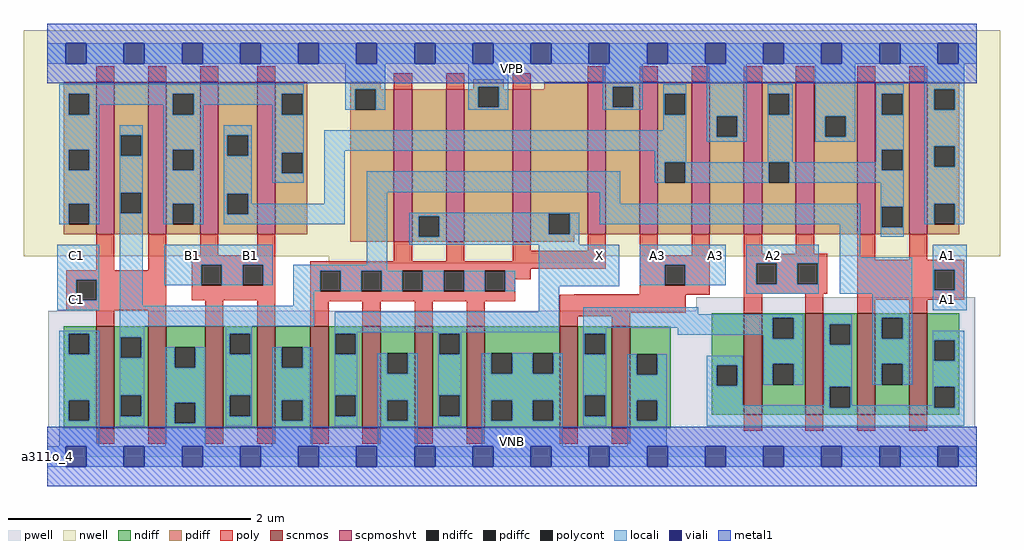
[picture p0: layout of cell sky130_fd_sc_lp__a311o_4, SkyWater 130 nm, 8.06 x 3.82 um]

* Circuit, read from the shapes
.subckt sky130_fd_sc_lp__a311o_4 A1 A2 A3 B1 C1 VGND VNB VPB VPWR X
XM1 n1 C1 VGND VNB sky130_fd_pr__nfet_01v8 w=0.84 l=0.15 m=2
XM2 n1 B1 VGND VNB sky130_fd_pr__nfet_01v8 w=0.84 l=0.15 m=2
XM3 X n1 VGND VNB sky130_fd_pr__nfet_01v8 w=0.84 l=0.15 m=4
XM4 n2 A3 VGND VNB sky130_fd_pr__nfet_01v8 w=0.84 l=0.15 m=2
XM5 n2 A2 n3 VNB sky130_fd_pr__nfet_01v8 w=0.84 l=0.15 m=2
XM6 n1 A1 n3 VNB sky130_fd_pr__nfet_01v8 w=0.84 l=0.15 m=2
XM7 n1 C1 n4 VPB sky130_fd_pr__pfet_01v8_hvt w=1.26 l=0.15 m=2
XM8 n5 B1 n4 VPB sky130_fd_pr__pfet_01v8_hvt w=1.26 l=0.15 m=2
XM9 X n1 VPWR VPB sky130_fd_pr__pfet_01v8_hvt w=1.26 l=0.15 m=4
XM10 n5 A3 VPWR VPB sky130_fd_pr__pfet_01v8_hvt w=1.26 l=0.15 m=2
XM11 n5 A2 VPWR VPB sky130_fd_pr__pfet_01v8_hvt w=1.26 l=0.15 m=2
XM12 n5 A1 VPWR VPB sky130_fd_pr__pfet_01v8_hvt w=1.26 l=0.15 m=2
.ends

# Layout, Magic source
magic
tech sky130A
magscale 1 2
<< nwell >>
rect -38 331 1574 704
rect 465 319 907 331
<< pwell >>
rect 1072 241 1533 263
rect 2 49 1533 241
rect 0 0 1536 49
<< scnmos >>
rect 81 47 111 215
rect 167 47 197 215
rect 261 47 291 215
rect 347 47 377 215
rect 435 47 465 215
rect 521 47 551 215
rect 607 47 637 215
rect 693 47 723 215
rect 847 47 877 215
rect 933 47 963 215
rect 1151 69 1181 237
rect 1252 69 1282 237
rect 1338 69 1368 237
rect 1424 69 1454 237
<< scpmoshvt >>
rect 81 367 111 619
rect 167 367 197 619
rect 253 367 283 619
rect 347 367 377 619
rect 573 355 603 607
rect 659 355 689 607
rect 769 355 799 607
rect 893 367 923 619
rect 979 367 1009 619
rect 1065 367 1095 619
rect 1151 367 1181 619
rect 1237 367 1267 619
rect 1338 367 1368 619
rect 1424 367 1454 619
<< ndiff >>
rect 28 203 81 215
rect 28 169 36 203
rect 70 169 81 203
rect 28 93 81 169
rect 28 59 36 93
rect 70 59 81 93
rect 28 47 81 59
rect 111 197 167 215
rect 111 163 122 197
rect 156 163 167 197
rect 111 101 167 163
rect 111 67 122 101
rect 156 67 167 101
rect 111 47 167 67
rect 197 181 261 215
rect 197 147 211 181
rect 245 147 261 181
rect 197 89 261 147
rect 197 55 211 89
rect 245 55 261 89
rect 197 47 261 55
rect 291 203 347 215
rect 291 169 302 203
rect 336 169 347 203
rect 291 101 347 169
rect 291 67 302 101
rect 336 67 347 101
rect 291 47 347 67
rect 377 181 435 215
rect 377 147 388 181
rect 422 147 435 181
rect 377 93 435 147
rect 377 59 388 93
rect 422 59 435 93
rect 377 47 435 59
rect 465 203 521 215
rect 465 169 476 203
rect 510 169 521 203
rect 465 101 521 169
rect 465 67 476 101
rect 510 67 521 101
rect 465 47 521 67
rect 551 171 607 215
rect 551 137 562 171
rect 596 137 607 171
rect 551 93 607 137
rect 551 59 562 93
rect 596 59 607 93
rect 551 47 607 59
rect 637 203 693 215
rect 637 169 648 203
rect 682 169 693 203
rect 637 101 693 169
rect 637 67 648 101
rect 682 67 693 101
rect 637 47 693 67
rect 723 171 847 215
rect 723 137 734 171
rect 768 137 802 171
rect 836 137 847 171
rect 723 93 847 137
rect 723 59 734 93
rect 768 59 802 93
rect 836 59 847 93
rect 723 47 847 59
rect 877 203 933 215
rect 877 169 888 203
rect 922 169 933 203
rect 877 101 933 169
rect 877 67 888 101
rect 922 67 933 101
rect 877 47 933 67
rect 963 169 1030 215
rect 963 135 974 169
rect 1008 135 1030 169
rect 963 93 1030 135
rect 963 59 974 93
rect 1008 59 1030 93
rect 1098 151 1151 237
rect 1098 117 1106 151
rect 1140 117 1151 151
rect 1098 69 1151 117
rect 1181 229 1252 237
rect 1181 195 1199 229
rect 1233 195 1252 229
rect 1181 153 1252 195
rect 1181 119 1199 153
rect 1233 119 1252 153
rect 1181 69 1252 119
rect 1282 219 1338 237
rect 1282 185 1293 219
rect 1327 185 1338 219
rect 1282 115 1338 185
rect 1282 81 1293 115
rect 1327 81 1338 115
rect 1282 69 1338 81
rect 1368 229 1424 237
rect 1368 195 1379 229
rect 1413 195 1424 229
rect 1368 153 1424 195
rect 1368 119 1379 153
rect 1413 119 1424 153
rect 1368 69 1424 119
rect 1454 192 1507 237
rect 1454 158 1465 192
rect 1499 158 1507 192
rect 1454 115 1507 158
rect 1454 81 1465 115
rect 1499 81 1507 115
rect 1454 69 1507 81
rect 963 47 1030 59
<< pdiff >>
rect 28 599 81 619
rect 28 565 36 599
rect 70 565 81 599
rect 28 507 81 565
rect 28 473 36 507
rect 70 473 81 507
rect 28 418 81 473
rect 28 384 36 418
rect 70 384 81 418
rect 28 367 81 384
rect 111 531 167 619
rect 111 497 122 531
rect 156 497 167 531
rect 111 436 167 497
rect 111 402 122 436
rect 156 402 167 436
rect 111 367 167 402
rect 197 599 253 619
rect 197 565 208 599
rect 242 565 253 599
rect 197 507 253 565
rect 197 473 208 507
rect 242 473 253 507
rect 197 418 253 473
rect 197 384 208 418
rect 242 384 253 418
rect 197 367 253 384
rect 283 531 347 619
rect 283 497 298 531
rect 332 497 347 531
rect 283 434 347 497
rect 283 400 298 434
rect 332 400 347 434
rect 283 367 347 400
rect 377 599 430 619
rect 377 565 388 599
rect 422 565 430 599
rect 377 502 430 565
rect 377 468 388 502
rect 422 468 430 502
rect 377 367 430 468
rect 501 607 551 619
rect 704 611 754 623
rect 704 607 712 611
rect 501 573 509 607
rect 543 573 573 607
rect 501 355 573 573
rect 603 397 659 607
rect 603 363 614 397
rect 648 363 659 397
rect 603 355 659 363
rect 689 577 712 607
rect 746 607 754 611
rect 821 607 893 619
rect 746 577 769 607
rect 689 355 769 577
rect 799 401 893 607
rect 799 367 829 401
rect 863 367 893 401
rect 923 611 979 619
rect 923 577 934 611
rect 968 577 979 611
rect 923 367 979 577
rect 1009 599 1065 619
rect 1009 565 1020 599
rect 1054 565 1065 599
rect 1009 486 1065 565
rect 1009 452 1020 486
rect 1054 452 1065 486
rect 1009 367 1065 452
rect 1095 562 1151 619
rect 1095 528 1106 562
rect 1140 528 1151 562
rect 1095 367 1151 528
rect 1181 599 1237 619
rect 1181 565 1192 599
rect 1226 565 1237 599
rect 1181 486 1237 565
rect 1181 452 1192 486
rect 1226 452 1237 486
rect 1181 367 1237 452
rect 1267 562 1338 619
rect 1267 528 1285 562
rect 1319 528 1338 562
rect 1267 367 1338 528
rect 1368 599 1424 619
rect 1368 565 1379 599
rect 1413 565 1424 599
rect 1368 507 1424 565
rect 1368 473 1379 507
rect 1413 473 1424 507
rect 1368 413 1424 473
rect 1368 379 1379 413
rect 1413 379 1424 413
rect 1368 367 1424 379
rect 1454 607 1507 619
rect 1454 573 1465 607
rect 1499 573 1507 607
rect 1454 513 1507 573
rect 1454 479 1465 513
rect 1499 479 1507 513
rect 1454 418 1507 479
rect 1454 384 1465 418
rect 1499 384 1507 418
rect 1454 367 1507 384
rect 799 355 871 367
<< ndiffc >>
rect 36 169 70 203
rect 36 59 70 93
rect 122 163 156 197
rect 122 67 156 101
rect 211 147 245 181
rect 211 55 245 89
rect 302 169 336 203
rect 302 67 336 101
rect 388 147 422 181
rect 388 59 422 93
rect 476 169 510 203
rect 476 67 510 101
rect 562 137 596 171
rect 562 59 596 93
rect 648 169 682 203
rect 648 67 682 101
rect 734 137 768 171
rect 802 137 836 171
rect 734 59 768 93
rect 802 59 836 93
rect 888 169 922 203
rect 888 67 922 101
rect 974 135 1008 169
rect 974 59 1008 93
rect 1106 117 1140 151
rect 1199 195 1233 229
rect 1199 119 1233 153
rect 1293 185 1327 219
rect 1293 81 1327 115
rect 1379 195 1413 229
rect 1379 119 1413 153
rect 1465 158 1499 192
rect 1465 81 1499 115
<< pdiffc >>
rect 36 565 70 599
rect 36 473 70 507
rect 36 384 70 418
rect 122 497 156 531
rect 122 402 156 436
rect 208 565 242 599
rect 208 473 242 507
rect 208 384 242 418
rect 298 497 332 531
rect 298 400 332 434
rect 388 565 422 599
rect 388 468 422 502
rect 509 573 543 607
rect 614 363 648 397
rect 712 577 746 611
rect 829 367 863 401
rect 934 577 968 611
rect 1020 565 1054 599
rect 1020 452 1054 486
rect 1106 528 1140 562
rect 1192 565 1226 599
rect 1192 452 1226 486
rect 1285 528 1319 562
rect 1379 565 1413 599
rect 1379 473 1413 507
rect 1379 379 1413 413
rect 1465 573 1499 607
rect 1465 479 1499 513
rect 1465 384 1499 418
<< poly >>
rect 81 619 111 645
rect 167 619 197 645
rect 253 619 283 645
rect 347 619 377 645
rect 573 607 603 633
rect 659 607 689 633
rect 81 308 111 367
rect 167 308 197 367
rect 253 333 283 367
rect 347 333 377 367
rect 769 607 799 633
rect 893 619 923 645
rect 979 619 1009 645
rect 1065 619 1095 645
rect 1151 619 1181 645
rect 1237 619 1267 645
rect 1338 619 1368 645
rect 1424 619 1454 645
rect 32 292 197 308
rect 32 258 48 292
rect 82 258 197 292
rect 239 317 377 333
rect 573 323 603 355
rect 659 323 689 355
rect 769 340 799 355
rect 893 340 923 367
rect 769 323 923 340
rect 239 283 255 317
rect 289 283 323 317
rect 357 283 377 317
rect 239 258 377 283
rect 32 242 197 258
rect 81 215 111 242
rect 167 215 197 242
rect 261 215 291 258
rect 347 215 377 258
rect 435 310 923 323
rect 979 333 1009 367
rect 1065 333 1095 367
rect 979 317 1095 333
rect 435 307 799 310
rect 435 273 451 307
rect 485 273 519 307
rect 553 273 587 307
rect 621 273 655 307
rect 689 273 723 307
rect 757 293 799 307
rect 757 273 773 293
rect 435 257 773 273
rect 979 283 1020 317
rect 1054 283 1095 317
rect 979 268 1095 283
rect 871 267 1095 268
rect 1151 335 1181 367
rect 1237 335 1267 367
rect 1151 319 1289 335
rect 1151 285 1171 319
rect 1205 285 1239 319
rect 1273 285 1289 319
rect 1151 269 1289 285
rect 1338 325 1368 367
rect 1424 325 1454 367
rect 1338 309 1515 325
rect 1338 275 1465 309
rect 1499 275 1515 309
rect 435 215 465 257
rect 521 215 551 257
rect 607 215 637 257
rect 693 215 723 257
rect 847 238 1055 267
rect 847 232 963 238
rect 1151 237 1181 269
rect 1252 237 1282 269
rect 1338 259 1515 275
rect 1338 237 1368 259
rect 1424 237 1454 259
rect 847 215 877 232
rect 933 215 963 232
rect 81 21 111 47
rect 167 21 197 47
rect 261 21 291 47
rect 347 21 377 47
rect 435 21 465 47
rect 521 21 551 47
rect 607 21 637 47
rect 693 21 723 47
rect 847 21 877 47
rect 933 21 963 47
rect 1151 43 1181 69
rect 1252 43 1282 69
rect 1338 43 1368 69
rect 1424 43 1454 69
<< polycont >>
rect 48 258 82 292
rect 255 283 289 317
rect 323 283 357 317
rect 451 273 485 307
rect 519 273 553 307
rect 587 273 621 307
rect 655 273 689 307
rect 723 273 757 307
rect 1020 283 1054 317
rect 1171 285 1205 319
rect 1239 285 1273 319
rect 1465 275 1499 309
<< locali >>
rect 0 649 31 683
rect 65 649 127 683
rect 161 649 223 683
rect 257 649 319 683
rect 353 649 415 683
rect 449 649 511 683
rect 545 649 607 683
rect 641 649 703 683
rect 737 649 799 683
rect 833 649 895 683
rect 929 649 991 683
rect 1025 649 1087 683
rect 1121 649 1183 683
rect 1217 649 1279 683
rect 1313 649 1375 683
rect 1409 649 1471 683
rect 1505 649 1536 683
rect 20 599 424 615
rect 20 565 36 599
rect 70 581 208 599
rect 70 565 86 581
rect 20 507 86 565
rect 192 565 208 581
rect 242 581 388 599
rect 242 565 258 581
rect 20 473 36 507
rect 70 473 86 507
rect 20 418 86 473
rect 20 384 36 418
rect 70 384 86 418
rect 120 531 158 547
rect 120 497 122 531
rect 156 497 158 531
rect 120 436 158 497
rect 120 402 122 436
rect 156 402 158 436
rect 17 292 86 350
rect 17 258 48 292
rect 82 258 86 292
rect 17 242 86 258
rect 120 249 158 402
rect 192 507 258 565
rect 372 565 388 581
rect 422 565 424 599
rect 493 607 559 649
rect 493 573 509 607
rect 543 573 559 607
rect 696 611 762 649
rect 696 577 712 611
rect 746 577 762 611
rect 696 573 762 577
rect 918 611 984 649
rect 918 577 934 611
rect 968 577 984 611
rect 918 573 984 577
rect 1018 599 1056 615
rect 192 473 208 507
rect 242 473 258 507
rect 192 418 258 473
rect 192 384 208 418
rect 242 384 258 418
rect 292 531 338 547
rect 292 497 298 531
rect 332 497 338 531
rect 292 434 338 497
rect 372 502 424 565
rect 1018 565 1020 599
rect 1054 565 1056 599
rect 1018 539 1056 565
rect 372 468 388 502
rect 422 468 424 502
rect 372 452 424 468
rect 458 505 1056 539
rect 1090 562 1156 649
rect 1090 528 1106 562
rect 1140 528 1156 562
rect 1090 520 1156 528
rect 1190 599 1232 615
rect 1190 565 1192 599
rect 1226 565 1232 599
rect 292 400 298 434
rect 332 418 338 434
rect 458 418 492 505
rect 1004 486 1056 505
rect 1190 486 1232 565
rect 1269 562 1335 649
rect 1269 528 1285 562
rect 1319 528 1335 562
rect 1269 520 1335 528
rect 1369 599 1415 615
rect 1369 565 1379 599
rect 1413 565 1415 599
rect 1369 507 1415 565
rect 1369 486 1379 507
rect 332 400 492 418
rect 292 384 492 400
rect 528 437 947 471
rect 1004 452 1020 486
rect 1054 452 1192 486
rect 1226 473 1379 486
rect 1413 473 1415 507
rect 1226 452 1415 473
rect 194 317 373 350
rect 528 317 562 437
rect 913 418 947 437
rect 598 401 879 403
rect 598 397 829 401
rect 598 363 614 397
rect 648 367 829 397
rect 863 367 879 401
rect 913 384 1343 418
rect 648 363 879 367
rect 598 350 879 363
rect 194 283 255 317
rect 289 283 323 317
rect 357 283 373 317
rect 407 307 562 317
rect 407 273 451 307
rect 485 273 519 307
rect 553 273 587 307
rect 621 273 655 307
rect 689 273 723 307
rect 757 273 773 307
rect 812 281 945 350
rect 979 317 1121 350
rect 979 283 1020 317
rect 1054 283 1121 317
rect 1155 319 1275 350
rect 1155 285 1171 319
rect 1205 285 1239 319
rect 1273 285 1275 319
rect 407 249 441 273
rect 120 215 441 249
rect 812 239 846 281
rect 1155 269 1275 285
rect 1309 329 1343 384
rect 1377 413 1415 452
rect 1377 379 1379 413
rect 1413 379 1415 413
rect 1449 607 1515 649
rect 1449 573 1465 607
rect 1499 573 1515 607
rect 1449 513 1515 573
rect 1449 479 1465 513
rect 1499 479 1515 513
rect 1449 418 1515 479
rect 1449 384 1465 418
rect 1499 384 1515 418
rect 1377 363 1415 379
rect 1309 269 1429 329
rect 20 203 86 208
rect 20 169 36 203
rect 70 169 86 203
rect 20 93 86 169
rect 20 59 36 93
rect 70 59 86 93
rect 20 17 86 59
rect 120 197 161 215
rect 120 163 122 197
rect 156 163 161 197
rect 295 203 338 215
rect 120 101 161 163
rect 120 67 122 101
rect 156 67 161 101
rect 120 51 161 67
rect 195 147 211 181
rect 245 147 261 181
rect 195 89 261 147
rect 195 55 211 89
rect 245 55 261 89
rect 195 17 261 55
rect 295 169 302 203
rect 336 169 338 203
rect 475 205 846 239
rect 886 235 1076 247
rect 886 229 1249 235
rect 886 213 1199 229
rect 475 203 512 205
rect 295 101 338 169
rect 295 67 302 101
rect 336 67 338 101
rect 295 51 338 67
rect 372 147 388 181
rect 422 147 438 181
rect 372 93 438 147
rect 372 59 388 93
rect 422 59 438 93
rect 372 17 438 59
rect 475 169 476 203
rect 510 169 512 203
rect 646 203 684 205
rect 475 101 512 169
rect 475 67 476 101
rect 510 67 512 101
rect 475 51 512 67
rect 546 137 562 171
rect 596 137 612 171
rect 546 93 612 137
rect 546 59 562 93
rect 596 59 612 93
rect 546 17 612 59
rect 646 169 648 203
rect 682 169 684 203
rect 886 203 924 213
rect 646 101 684 169
rect 646 67 648 101
rect 682 67 684 101
rect 646 51 684 67
rect 718 137 734 171
rect 768 137 802 171
rect 836 137 852 171
rect 718 93 852 137
rect 718 59 734 93
rect 768 59 802 93
rect 836 59 852 93
rect 718 17 852 59
rect 886 169 888 203
rect 922 169 924 203
rect 1042 201 1199 213
rect 1183 195 1199 201
rect 1233 195 1249 229
rect 886 101 924 169
rect 886 67 888 101
rect 922 67 924 101
rect 886 51 924 67
rect 958 135 974 169
rect 1008 135 1024 169
rect 958 93 1024 135
rect 958 59 974 93
rect 1008 59 1024 93
rect 958 17 1024 59
rect 1090 151 1149 167
rect 1090 117 1106 151
rect 1140 117 1149 151
rect 1183 153 1249 195
rect 1183 119 1199 153
rect 1233 119 1249 153
rect 1283 219 1329 235
rect 1283 185 1293 219
rect 1327 185 1329 219
rect 1090 85 1149 117
rect 1283 115 1329 185
rect 1363 229 1429 269
rect 1463 309 1519 350
rect 1463 275 1465 309
rect 1499 275 1519 309
rect 1463 242 1519 275
rect 1363 195 1379 229
rect 1413 195 1429 229
rect 1363 153 1429 195
rect 1363 119 1379 153
rect 1413 119 1429 153
rect 1463 192 1515 208
rect 1463 158 1465 192
rect 1499 158 1515 192
rect 1283 85 1293 115
rect 1090 81 1293 85
rect 1327 85 1329 115
rect 1463 115 1515 158
rect 1463 85 1465 115
rect 1327 81 1465 85
rect 1499 81 1515 115
rect 1090 51 1515 81
rect 0 -17 31 17
rect 65 -17 127 17
rect 161 -17 223 17
rect 257 -17 319 17
rect 353 -17 415 17
rect 449 -17 511 17
rect 545 -17 607 17
rect 641 -17 703 17
rect 737 -17 799 17
rect 833 -17 895 17
rect 929 -17 991 17
rect 1025 -17 1087 17
rect 1121 -17 1183 17
rect 1217 -17 1279 17
rect 1313 -17 1375 17
rect 1409 -17 1471 17
rect 1505 -17 1536 17
<< viali >>
rect 31 649 65 683
rect 127 649 161 683
rect 223 649 257 683
rect 319 649 353 683
rect 415 649 449 683
rect 511 649 545 683
rect 607 649 641 683
rect 703 649 737 683
rect 799 649 833 683
rect 895 649 929 683
rect 991 649 1025 683
rect 1087 649 1121 683
rect 1183 649 1217 683
rect 1279 649 1313 683
rect 1375 649 1409 683
rect 1471 649 1505 683
rect 31 -17 65 17
rect 127 -17 161 17
rect 223 -17 257 17
rect 319 -17 353 17
rect 415 -17 449 17
rect 511 -17 545 17
rect 607 -17 641 17
rect 703 -17 737 17
rect 799 -17 833 17
rect 895 -17 929 17
rect 991 -17 1025 17
rect 1087 -17 1121 17
rect 1183 -17 1217 17
rect 1279 -17 1313 17
rect 1375 -17 1409 17
rect 1471 -17 1505 17
<< metal1 >>
rect 0 683 1536 715
rect 0 649 31 683
rect 65 649 127 683
rect 161 649 223 683
rect 257 649 319 683
rect 353 649 415 683
rect 449 649 511 683
rect 545 649 607 683
rect 641 649 703 683
rect 737 649 799 683
rect 833 649 895 683
rect 929 649 991 683
rect 1025 649 1087 683
rect 1121 649 1183 683
rect 1217 649 1279 683
rect 1313 649 1375 683
rect 1409 649 1471 683
rect 1505 649 1536 683
rect 0 617 1536 649
rect 0 17 1536 49
rect 0 -17 31 17
rect 65 -17 127 17
rect 161 -17 223 17
rect 257 -17 319 17
rect 353 -17 415 17
rect 449 -17 511 17
rect 545 -17 607 17
rect 641 -17 703 17
rect 737 -17 799 17
rect 833 -17 895 17
rect 929 -17 991 17
rect 1025 -17 1087 17
rect 1121 -17 1183 17
rect 1217 -17 1279 17
rect 1313 -17 1375 17
rect 1409 -17 1471 17
rect 1505 -17 1536 17
rect 0 -49 1536 -17
<< labels >>
flabel pwell s 0 0 1536 49 0 FreeSans 200 0 0 0 VNB
port 7 nsew ground bidirectional
flabel nwell s 0 617 1536 666 0 FreeSans 200 0 0 0 VPB
port 8 nsew power bidirectional
rlabel comment s 0 0 0 0 4 a311o_4
flabel metal1 s 0 0 1536 49 0 FreeSans 340 0 0 0 VGND
port 6 nsew ground bidirectional
flabel metal1 s 0 617 1536 666 0 FreeSans 340 0 0 0 VPWR
port 9 nsew power bidirectional
flabel locali s 895 316 929 350 0 FreeSans 340 0 0 0 X
port 10 nsew signal output
flabel locali s 1471 242 1505 276 0 FreeSans 340 0 0 0 A1
port 1 nsew signal input
flabel locali s 1471 316 1505 350 0 FreeSans 340 0 0 0 A1
port 1 nsew signal input
flabel locali s 1183 316 1217 350 0 FreeSans 340 0 0 0 A2
port 2 nsew signal input
flabel locali s 991 316 1025 350 0 FreeSans 340 0 0 0 A3
port 3 nsew signal input
flabel locali s 1087 316 1121 350 0 FreeSans 340 0 0 0 A3
port 3 nsew signal input
flabel locali s 223 316 257 350 0 FreeSans 340 0 0 0 B1
port 4 nsew signal input
flabel locali s 319 316 353 350 0 FreeSans 340 0 0 0 B1
port 4 nsew signal input
flabel locali s 31 242 65 276 0 FreeSans 340 0 0 0 C1
port 5 nsew signal input
flabel locali s 31 316 65 350 0 FreeSans 340 0 0 0 C1
port 5 nsew signal input
<< properties >>
string LEFsite unit
string LEFclass CORE
string FIXED_BBOX 0 0 1536 666
string GDS_FILE $PDKPATH/libs.ref/sky130_fd_sc_lp/gds/sky130_fd_sc_lp.gds
string LEFsymmetry X Y R90
string GDS_END 2826362
string GDS_START 2813456
<< end >>
